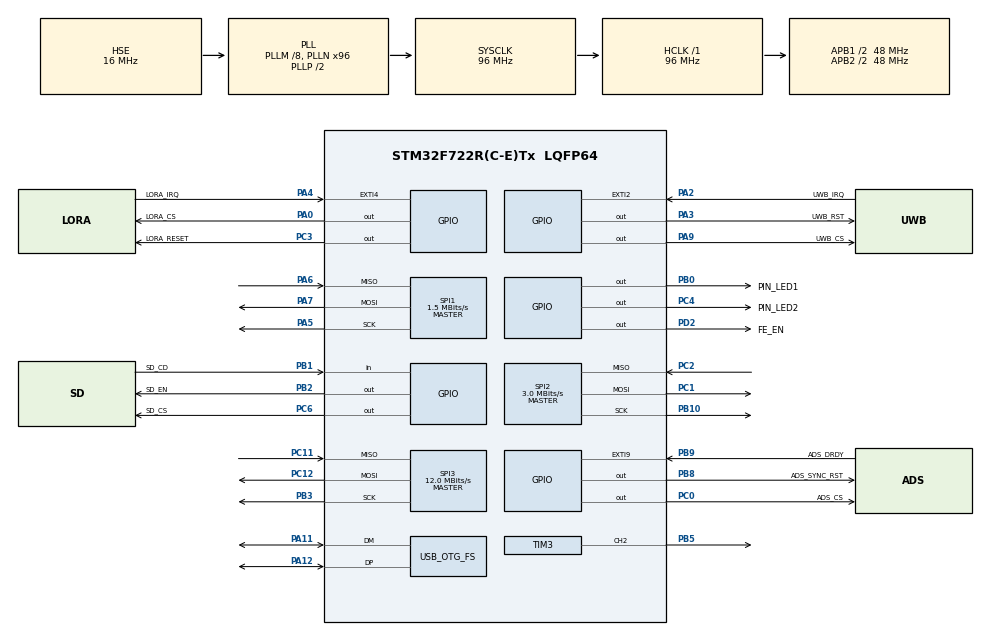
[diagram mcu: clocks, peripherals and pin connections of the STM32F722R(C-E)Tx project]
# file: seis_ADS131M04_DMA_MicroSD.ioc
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Dma.Request0=SPI3_RX
Dma.Request1=SPI3_TX
Dma.SPI3_RX.0.Direction=DMA_PERIPH_TO_MEMORY
Dma.SPI3_RX.0.FIFOMode=DMA_FIFOMODE_DISABLE
Dma.SPI3_RX.0.Instance=DMA1_Stream0
Dma.SPI3_RX.0.MemDataAlignment=DMA_MDATAALIGN_BYTE
Dma.SPI3_RX.0.MemInc=DMA_MINC_ENABLE
Dma.SPI3_RX.0.Mode=DMA_NORMAL
Dma.SPI3_RX.0.PeriphDataAlignment=DMA_PDATAALIGN_BYTE
Dma.SPI3_RX.0.PeriphInc=DMA_PINC_DISABLE
Dma.SPI3_RX.0.Priority=DMA_PRIORITY_VERY_HIGH
Dma.SPI3_TX.1.Direction=DMA_MEMORY_TO_PERIPH
Dma.SPI3_TX.1.FIFOMode=DMA_FIFOMODE_DISABLE
Dma.SPI3_TX.1.Instance=DMA1_Stream5
Dma.SPI3_TX.1.MemDataAlignment=DMA_MDATAALIGN_BYTE
Dma.SPI3_TX.1.MemInc=DMA_MINC_ENABLE
Dma.SPI3_TX.1.Mode=DMA_NORMAL
Dma.SPI3_TX.1.PeriphDataAlignment=DMA_PDATAALIGN_BYTE
Dma.SPI3_TX.1.PeriphInc=DMA_PINC_DISABLE
Dma.SPI3_TX.1.Priority=DMA_PRIORITY_VERY_HIGH
Mcu.Family=STM32F7
Mcu.Name=STM32F722R(C-E)Tx
Mcu.Package=LQFP64
NVIC.DMA1_Stream0_IRQn=true\:0\:0\:false\:false\:true\:false\:true\:true
NVIC.DMA1_Stream5_IRQn=true\:0\:0\:false\:false\:true\:false\:true\:true
NVIC.EXTI2_IRQn=true\:1\:0\:true\:false\:true\:true\:true\:true
NVIC.EXTI4_IRQn=true\:2\:0\:true\:false\:true\:true\:true\:true
NVIC.EXTI9_5_IRQn=true\:0\:0\:false\:false\:true\:true\:true\:true
NVIC.OTG_FS_IRQn=true\:0\:0\:false\:false\:true\:false\:true\:true
NVIC.PriorityGroup=NVIC_PRIORITYGROUP_4
PA0-WKUP.GPIO_Label=LORA_CS
PA0-WKUP.GPIO_PuPd=GPIO_PULLUP
PA0-WKUP.PinState=GPIO_PIN_SET
PA0-WKUP.Signal=GPIO_Output
PA11.Mode=Device_Only
PA11.Signal=USB_OTG_FS_DM
PA12.Mode=Device_Only
PA12.Signal=USB_OTG_FS_DP
PA13.Mode=Serial_Wire
PA13.Signal=SYS_JTMS-SWDIO
PA14.Mode=Serial_Wire
PA14.Signal=SYS_JTCK-SWCLK
PA2.GPIO_Label=UWB_IRQ
PA2.Signal=GPXTI2
PA3.GPIO_Label=UWB_RST
PA3.Signal=GPIO_Output
PA4.GPIO_Label=LORA_IRQ
PA4.GPIO_PuPd=GPIO_PULLDOWN
PA4.Signal=GPXTI4
PA5.Mode=Full_Duplex_Master
PA5.Signal=SPI1_SCK
PA6.Mode=Full_Duplex_Master
PA6.Signal=SPI1_MISO
PA7.Mode=Full_Duplex_Master
PA7.Signal=SPI1_MOSI
PA9.GPIO_Label=UWB_CS
PA9.GPIO_PuPd=GPIO_PULLUP
PA9.PinState=GPIO_PIN_SET
PA9.Signal=GPIO_Output
PB0.GPIO_Label=PIN_LED1
PB0.Signal=GPIO_Output
PB1.GPIO_Label=SD_CD
PB1.Signal=GPIO_Input
PB10.GPIO_PuPd=GPIO_PULLUP
PB10.Mode=Full_Duplex_Master
PB10.Signal=SPI2_SCK
PB2.GPIO_Label=SD_EN
PB2.Signal=GPIO_Output
PB3.Mode=Full_Duplex_Master
PB3.Signal=SPI3_SCK
PB5.GPIO_Speed=GPIO_SPEED_FREQ_HIGH
PB5.Signal=S_TIM3_CH2
PB8.GPIO_Label=ADS_SYNC_RST
PB8.Signal=GPIO_Output
PB9.GPIO_Label=ADS_DRDY
PB9.GPIO_ModeDefaultEXTI=GPIO_MODE_IT_FALLING
PB9.GPIO_PuPd=GPIO_NOPULL
PB9.Signal=GPXTI9
PC0.GPIO_Label=ADS_CS
PC0.GPIO_PuPd=GPIO_PULLUP
PC0.Signal=GPIO_Output
PC1.GPIO_PuPd=GPIO_PULLUP
PC1.Mode=Full_Duplex_Master
PC1.Signal=SPI2_MOSI
PC11.Mode=Full_Duplex_Master
PC11.Signal=SPI3_MISO
PC12.Mode=Full_Duplex_Master
PC12.Signal=SPI3_MOSI
PC14-OSC32_IN.Mode=LSE-External-Oscillator
PC14-OSC32_IN.Signal=RCC_OSC32_IN
PC15-OSC32_OUT.Mode=LSE-External-Oscillator
PC15-OSC32_OUT.Signal=RCC_OSC32_OUT
PC2.GPIO_PuPd=GPIO_PULLUP
PC2.Mode=Full_Duplex_Master
PC2.Signal=SPI2_MISO
PC3.GPIO_Label=LORA_RESET
PC3.GPIO_PuPd=GPIO_PULLUP
PC3.Signal=GPIO_Output
PC4.GPIO_Label=PIN_LED2
PC4.Signal=GPIO_Output
PC6.GPIO_Label=SD_CS
PC6.GPIO_PuPd=GPIO_PULLUP
PC6.PinState=GPIO_PIN_SET
PC6.Signal=GPIO_Output
PD2.GPIO_Label=FE_EN
PD2.Signal=GPIO_Output
PH0-OSC_IN.Mode=HSE-External-Oscillator
PH0-OSC_IN.Signal=RCC_OSC_IN
PH1-OSC_OUT.Mode=HSE-External-Oscillator
PH1-OSC_OUT.Signal=RCC_OSC_OUT
ProjectManager.HeapSize=0x200
ProjectManager.StackSize=0x400
ProjectManager.TargetToolchain=STM32CubeIDE
RCC.AHBFreq_Value=96000000
RCC.APB1CLKDivider=RCC_HCLK_DIV2
RCC.APB1Freq_Value=48000000
RCC.APB1TimFreq_Value=96000000
RCC.APB2CLKDivider=RCC_HCLK_DIV2
RCC.APB2Freq_Value=48000000
RCC.APB2TimFreq_Value=96000000
RCC.CortexFreq_Value=96000000
RCC.HCLKFreq_Value=96000000
RCC.HSE_VALUE=16000000
RCC.HSI_VALUE=16000000
RCC.PLLM=8
RCC.PLLN=96
RCC.PLLQ=4
RCC.PWREXT_OverDrive=PWREXT_OverDrive_ACTIVATED
RCC.PWR_Regulator_Voltage_Scale=PWR_REGULATOR_VOLTAGE_SCALE1
RCC.SYSCLKFreq_VALUE=96000000
RCC.SYSCLKSource=RCC_SYSCLKSOURCE_PLLCLK
RCC.USBFreq_Value=48000000
RCC.VCOOutputFreq_Value=192000000
SH.S_TIM3_CH2.0=TIM3_CH2,PWM Generation2 CH2
SPI1.BaudRatePrescaler=SPI_BAUDRATEPRESCALER_32
SPI1.CalculateBaudRate=1.5 MBits/s
SPI1.DataSize=SPI_DATASIZE_8BIT
SPI1.Direction=SPI_DIRECTION_2LINES
SPI1.Mode=SPI_MODE_MASTER
SPI1.VirtualType=VM_MASTER
SPI2.BaudRatePrescaler=SPI_BAUDRATEPRESCALER_16
SPI2.CalculateBaudRate=3.0 MBits/s
SPI2.DataSize=SPI_DATASIZE_8BIT
SPI2.Direction=SPI_DIRECTION_2LINES
SPI2.Mode=SPI_MODE_MASTER
SPI2.VirtualType=VM_MASTER
SPI3.BaudRatePrescaler=SPI_BAUDRATEPRESCALER_4
SPI3.CLKPhase=SPI_PHASE_2EDGE
SPI3.CalculateBaudRate=12.0 MBits/s
SPI3.DataSize=SPI_DATASIZE_8BIT
SPI3.Direction=SPI_DIRECTION_2LINES
SPI3.Mode=SPI_MODE_MASTER
SPI3.VirtualType=VM_MASTER
TIM3.AutoReloadPreload=TIM_AUTORELOAD_PRELOAD_ENABLE
TIM3.Channel-PWM\ Generation2\ CH2=TIM_CHANNEL_2
TIM3.Period=32
USB_DEVICE.CLASS_NAME_FS=CDC
USB_DEVICE.VirtualMode-CDC_FS=Cdc
USB_DEVICE.VirtualModeFS=Cdc_FS
USB_OTG_FS.VirtualMode=Device_Only
VP_FATFS_VS_Generic.Mode=User_defined
VP_TIM3_VS_ClockSourceINT.Mode=Internal
VP_USB_DEVICE_VS_USB_DEVICE_CDC_FS.Mode=CDC_FS
board=custom

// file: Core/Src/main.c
/* USER CODE BEGIN Header */
/**
  ******************************************************************************
  * @file           : main.c
  * @brief          : Main program body
  ******************************************************************************
  * @attention
  *
  * Copyright (c) 2025 STMicroelectronics.
  * All rights reserved.
  *
  * This software is licensed under terms that can be found in the LICENSE file
  * in the root directory of this software component.
  * If no LICENSE file comes with this software, it is provided AS-IS.
  *
  ******************************************************************************
  */
/* USER CODE END Header */
#include "main.h"
#include "fatfs.h"
#include "usb_device.h"

/* USER CODE BEGIN Includes */
#include "ADS131M04.h"
#include "microsd_fz.h"

/* USER CODE END Includes */

SPI_HandleTypeDef hspi1;
SPI_HandleTypeDef hspi2;
SPI_HandleTypeDef hspi3;
DMA_HandleTypeDef hdma_spi3_rx;
DMA_HandleTypeDef hdma_spi3_tx;

TIM_HandleTypeDef htim3;

/* USER CODE BEGIN PV */
ADS131M04_ADCValue adcValue;
// uint8_t ADS_data_buffer[18] = {0};
/*
things to do for MicroSD card:
1. copy the user_diskio_spi.c and user_diskio_spi.h files to Core/Src and Core/Inc directories respectively.
2. define the SPI handle for the MicroSD card in main.h
3. remember the initial state of the SD_CS is HIGH!
4. open a file multiple times will cause problems
5. make sure the file name is in 8.3 format, e.g., "hexsense.txt", no special characters
*/
const char *HS_FILE_NAME = "HS1.txt"; // Default filename for operations

uint32_t rec_i = 0;
uint32_t i     = 0;

#define TIMES2REC 20 // Number of times to record data before stopping
/* USER CODE END PV */

void SystemClock_Config(void);
static void MX_GPIO_Init(void);
static void MX_DMA_Init(void);
static void MX_SPI1_Init(void);
static void MX_SPI3_Init(void);
static void MX_TIM3_Init(void);
static void MX_SPI2_Init(void);

/* USER CODE BEGIN 0 */
void SD_ON(void) {
  HAL_GPIO_WritePin(SD_EN_GPIO_Port, SD_EN_Pin, GPIO_PIN_SET);
}
/* USER CODE END 0 */

int main(void)
{

  /* MCU Configuration--------------------------------------------------------*/

  /* Reset of all peripherals, Initializes the Flash interface and the Systick. */
  HAL_Init();

  /* Configure the system clock */
  SystemClock_Config();

  /* USER CODE BEGIN SysInit */
  // if (HAL_GPIO_ReadPin(SD_CD_GPIO_Port, SD_CD_Pin) == GPIO_PIN_SET) {
  //   printf("SD card not detected!\n");
  //   while (1) {;}
  // }
  // SD_ON(); // Turn on the SD card

  /* USER CODE END SysInit */

  /* Initialize all configured peripherals */
  MX_GPIO_Init();
  if (HAL_GPIO_ReadPin(SD_CD_GPIO_Port, SD_CD_Pin) == GPIO_PIN_SET) {
    printf("SD card not detected!\n");
    while (1) {;}
  }
  SD_ON(); // Turn on the SD card
  MX_DMA_Init();
  MX_SPI1_Init();
  MX_FATFS_Init();
  MX_USB_DEVICE_Init();
  MX_SPI3_Init();
  MX_TIM3_Init();
  MX_SPI2_Init();
  /* USER CODE BEGIN 2 */
  ADS_PWR_ON(); // Power on the ADC
  HAL_Delay(1000); // Delay for stability

  if (mount_sd_card() == FR_OK) {
    HAL_GPIO_WritePin(PIN_LED2_GPIO_Port, PIN_LED2_Pin, GPIO_PIN_SET); // Indicate success with LED
    printf("SD card mounted!\n");
  } else {
     HAL_GPIO_WritePin(PIN_LED2_GPIO_Port, PIN_LED2_Pin, GPIO_PIN_RESET); // Indicate error with LED
    printf("SD card mount failed!\n");
    while (1) {;}
  }

  DWORD free_clusters, free_sectors, total_sectors = 0;

  if (get_statistics(&free_clusters, &free_sectors, &total_sectors) == FR_OK) {
    printf("Free clusters: %lu, Free sectors: %lu, Total sectors: %lu\n",
          free_clusters, free_sectors, total_sectors);
  } else {
    printf("Failed to get SD card statistics!\n");
  }

  // file name needs to be 8 + 3 format, e.g., "hexsense.txt"
  if (open_file("HS1.txt") == FR_OK) {
    printf("File opened successfully!\n");
  } else {
    printf("Failed to open file!\n");
  }

  /* USER CODE END 2 */

  /* Infinite loop */
  /* USER CODE BEGIN WHILE */
  ADS131M04_Init();
  HAL_GPIO_WritePin(GPIOB, PIN_LED1_Pin, GPIO_PIN_SET); // Set the reset pin high to exit reset state

//  uint32_t i = 0;

  ADS_CS_LOW();

  while (1) {
    /* USER CODE END WHILE */

    /* USER CODE BEGIN 3 */
    if (i < TIMES2REC) {
      if (ADS_data_ready) {
        ADS_data_ready = false;
        rec_i += BYTES_PER_FRAME;

        if (rec_i == BYTES_PER_FRAME * 1000) {
          rec_i = 0; // Reset the index if it exceeds the buffer size
          ADS_data_buffer2rec = ADS_data_buffer;
          ADS_data_buffer = (ADS_data_buffer == ADS_data_buffer_1) ? ADS_data_buffer_2 : ADS_data_buffer_1; // Switch buffers

          write_data_to_file(ADS_data_buffer2rec, BYTES_PER_FRAME * 1000);

          i++;

          if (i == TIMES2REC) {
            ADS_CS_HIGH(); // Set CS high to stop communication
            close_file();
            eject_sd_card();
            HAL_GPIO_WritePin(PIN_LED2_GPIO_Port, PIN_LED2_Pin, GPIO_PIN_RESET);
          }
        }
      }
    }
  }
  /* USER CODE END 3 */
}

void SystemClock_Config(void)
{
  RCC_OscInitTypeDef RCC_OscInitStruct = {0};
  RCC_ClkInitTypeDef RCC_ClkInitStruct = {0};

  /** Configure LSE Drive Capability
  */
  HAL_PWR_EnableBkUpAccess();

  /** Configure the main internal regulator output voltage
  */
  __HAL_RCC_PWR_CLK_ENABLE();
  __HAL_PWR_VOLTAGESCALING_CONFIG(PWR_REGULATOR_VOLTAGE_SCALE1);

  /** Initializes the RCC Oscillators according to the specified parameters
  * in the RCC_OscInitTypeDef structure.
  */
  RCC_OscInitStruct.OscillatorType = RCC_OSCILLATORTYPE_HSE;
  RCC_OscInitStruct.HSEState = RCC_HSE_ON;
  RCC_OscInitStruct.PLL.PLLState = RCC_PLL_ON;
  RCC_OscInitStruct.PLL.PLLSource = RCC_PLLSOURCE_HSE;
  RCC_OscInitStruct.PLL.PLLM = 8;
  RCC_OscInitStruct.PLL.PLLN = 96;
  RCC_OscInitStruct.PLL.PLLP = RCC_PLLP_DIV2;
  RCC_OscInitStruct.PLL.PLLQ = 4;
  if (HAL_RCC_OscConfig(&RCC_OscInitStruct) != HAL_OK)
  {
    Error_Handler();
  }

  /** Activate the Over-Drive mode
  */
  if (HAL_PWREx_EnableOverDrive() != HAL_OK)
  {
    Error_Handler();
  }

  /** Initializes the CPU, AHB and APB buses clocks
  */
  RCC_ClkInitStruct.ClockType = RCC_CLOCKTYPE_HCLK|RCC_CLOCKTYPE_SYSCLK
                              |RCC_CLOCKTYPE_PCLK1|RCC_CLOCKTYPE_PCLK2;
  RCC_ClkInitStruct.SYSCLKSource = RCC_SYSCLKSOURCE_PLLCLK;
  RCC_ClkInitStruct.AHBCLKDivider = RCC_SYSCLK_DIV1;
  RCC_ClkInitStruct.APB1CLKDivider = RCC_HCLK_DIV2;
  RCC_ClkInitStruct.APB2CLKDivider = RCC_HCLK_DIV2;

  if (HAL_RCC_ClockConfig(&RCC_ClkInitStruct, FLASH_LATENCY_3) != HAL_OK)
  {
    Error_Handler();
  }
}

static void MX_SPI1_Init(void)
{

  /* SPI1 parameter configuration*/
  hspi1.Instance = SPI1;
  hspi1.Init.Mode = SPI_MODE_MASTER;
  hspi1.Init.Direction = SPI_DIRECTION_2LINES;
  hspi1.Init.DataSize = SPI_DATASIZE_8BIT;
  hspi1.Init.CLKPolarity = SPI_POLARITY_LOW;
  hspi1.Init.CLKPhase = SPI_PHASE_1EDGE;
  hspi1.Init.NSS = SPI_NSS_SOFT;
  hspi1.Init.BaudRatePrescaler = SPI_BAUDRATEPRESCALER_32;
  hspi1.Init.FirstBit = SPI_FIRSTBIT_MSB;
  hspi1.Init.TIMode = SPI_TIMODE_DISABLE;
  hspi1.Init.CRCCalculation = SPI_CRCCALCULATION_DISABLE;
  hspi1.Init.CRCPolynomial = 7;
  hspi1.Init.CRCLength = SPI_CRC_LENGTH_DATASIZE;
  hspi1.Init.NSSPMode = SPI_NSS_PULSE_ENABLE;
  if (HAL_SPI_Init(&hspi1) != HAL_OK)
  {
    Error_Handler();
  }

}

static void MX_SPI2_Init(void)
{

  /* SPI2 parameter configuration*/
  hspi2.Instance = SPI2;
  hspi2.Init.Mode = SPI_MODE_MASTER;
  hspi2.Init.Direction = SPI_DIRECTION_2LINES;
  hspi2.Init.DataSize = SPI_DATASIZE_8BIT;
  hspi2.Init.CLKPolarity = SPI_POLARITY_LOW;
  hspi2.Init.CLKPhase = SPI_PHASE_1EDGE;
  hspi2.Init.NSS = SPI_NSS_SOFT;
  hspi2.Init.BaudRatePrescaler = SPI_BAUDRATEPRESCALER_16;
  hspi2.Init.FirstBit = SPI_FIRSTBIT_MSB;
  hspi2.Init.TIMode = SPI_TIMODE_DISABLE;
  hspi2.Init.CRCCalculation = SPI_CRCCALCULATION_DISABLE;
  hspi2.Init.CRCPolynomial = 7;
  hspi2.Init.CRCLength = SPI_CRC_LENGTH_DATASIZE;
  hspi2.Init.NSSPMode = SPI_NSS_PULSE_ENABLE;
  if (HAL_SPI_Init(&hspi2) != HAL_OK)
  {
    Error_Handler();
  }

}

static void MX_SPI3_Init(void)
{

  /* SPI3 parameter configuration*/
  hspi3.Instance = SPI3;
  hspi3.Init.Mode = SPI_MODE_MASTER;
  hspi3.Init.Direction = SPI_DIRECTION_2LINES;
  hspi3.Init.DataSize = SPI_DATASIZE_8BIT;
  hspi3.Init.CLKPolarity = SPI_POLARITY_LOW;
  hspi3.Init.CLKPhase = SPI_PHASE_2EDGE;
  hspi3.Init.NSS = SPI_NSS_SOFT;
  hspi3.Init.BaudRatePrescaler = SPI_BAUDRATEPRESCALER_4;
  hspi3.Init.FirstBit = SPI_FIRSTBIT_MSB;
  hspi3.Init.TIMode = SPI_TIMODE_DISABLE;
  hspi3.Init.CRCCalculation = SPI_CRCCALCULATION_DISABLE;
  hspi3.Init.CRCPolynomial = 7;
  hspi3.Init.CRCLength = SPI_CRC_LENGTH_DATASIZE;
  hspi3.Init.NSSPMode = SPI_NSS_PULSE_DISABLE;
  if (HAL_SPI_Init(&hspi3) != HAL_OK)
  {
    Error_Handler();
  }

}

static void MX_TIM3_Init(void)
{

  TIM_ClockConfigTypeDef sClockSourceConfig = {0};
  TIM_MasterConfigTypeDef sMasterConfig = {0};
  TIM_OC_InitTypeDef sConfigOC = {0};

  htim3.Instance = TIM3;
  htim3.Init.Prescaler = 0;
  htim3.Init.CounterMode = TIM_COUNTERMODE_UP;
  htim3.Init.Period = 32;
  htim3.Init.ClockDivision = TIM_CLOCKDIVISION_DIV1;
  htim3.Init.AutoReloadPreload = TIM_AUTORELOAD_PRELOAD_ENABLE;
  if (HAL_TIM_Base_Init(&htim3) != HAL_OK)
  {
    Error_Handler();
  }
  sClockSourceConfig.ClockSource = TIM_CLOCKSOURCE_INTERNAL;
  if (HAL_TIM_ConfigClockSource(&htim3, &sClockSourceConfig) != HAL_OK)
  {
    Error_Handler();
  }
  if (HAL_TIM_PWM_Init(&htim3) != HAL_OK)
  {
    Error_Handler();
  }
  sMasterConfig.MasterOutputTrigger = TIM_TRGO_RESET;
  sMasterConfig.MasterSlaveMode = TIM_MASTERSLAVEMODE_DISABLE;
  if (HAL_TIMEx_MasterConfigSynchronization(&htim3, &sMasterConfig) != HAL_OK)
  {
    Error_Handler();
  }
  sConfigOC.OCMode = TIM_OCMODE_PWM1;
  sConfigOC.Pulse = 0;
  sConfigOC.OCPolarity = TIM_OCPOLARITY_HIGH;
  sConfigOC.OCFastMode = TIM_OCFAST_DISABLE;
  if (HAL_TIM_PWM_ConfigChannel(&htim3, &sConfigOC, TIM_CHANNEL_2) != HAL_OK)
  {
    Error_Handler();
  }
  HAL_TIM_MspPostInit(&htim3);

}

static void MX_DMA_Init(void)
{

  /* DMA controller clock enable */
  __HAL_RCC_DMA1_CLK_ENABLE();

  /* DMA interrupt init */
  /* DMA1_Stream0_IRQn interrupt configuration */
  HAL_NVIC_SetPriority(DMA1_Stream0_IRQn, 0, 0);
  HAL_NVIC_EnableIRQ(DMA1_Stream0_IRQn);
  /* DMA1_Stream5_IRQn interrupt configuration */
  HAL_NVIC_SetPriority(DMA1_Stream5_IRQn, 0, 0);
  HAL_NVIC_EnableIRQ(DMA1_Stream5_IRQn);

}

static void MX_GPIO_Init(void)
{
  GPIO_InitTypeDef GPIO_InitStruct = {0};

  /* GPIO Ports Clock Enable */
  __HAL_RCC_GPIOC_CLK_ENABLE();
  __HAL_RCC_GPIOH_CLK_ENABLE();
  __HAL_RCC_GPIOA_CLK_ENABLE();
  __HAL_RCC_GPIOB_CLK_ENABLE();
  __HAL_RCC_GPIOD_CLK_ENABLE();

  /*Configure GPIO pin Output Level */
  HAL_GPIO_WritePin(GPIOC, ADS_CS_Pin|LORA_RESET_Pin|PIN_LED2_Pin, GPIO_PIN_RESET);

  /*Configure GPIO pin Output Level */
  HAL_GPIO_WritePin(GPIOA, LORA_CS_Pin|UWB_CS_Pin, GPIO_PIN_SET);

  /*Configure GPIO pin Output Level */
  HAL_GPIO_WritePin(UWB_RST_GPIO_Port, UWB_RST_Pin, GPIO_PIN_RESET);

  /*Configure GPIO pin Output Level */
  HAL_GPIO_WritePin(GPIOB, PIN_LED1_Pin|SD_EN_Pin|ADS_SYNC_RST_Pin, GPIO_PIN_RESET);

  /*Configure GPIO pin Output Level */
  HAL_GPIO_WritePin(SD_CS_GPIO_Port, SD_CS_Pin, GPIO_PIN_SET);

  /*Configure GPIO pin Output Level */
  HAL_GPIO_WritePin(FE_EN_GPIO_Port, FE_EN_Pin, GPIO_PIN_RESET);

  /*Configure GPIO pins : ADS_CS_Pin LORA_RESET_Pin SD_CS_Pin */
  GPIO_InitStruct.Pin = ADS_CS_Pin|LORA_RESET_Pin|SD_CS_Pin;
  GPIO_InitStruct.Mode = GPIO_MODE_OUTPUT_PP;
  GPIO_InitStruct.Pull = GPIO_PULLUP;
  GPIO_InitStruct.Speed = GPIO_SPEED_FREQ_LOW;
  HAL_GPIO_Init(GPIOC, &GPIO_InitStruct);

  /*Configure GPIO pins : LORA_CS_Pin UWB_CS_Pin */
  GPIO_InitStruct.Pin = LORA_CS_Pin|UWB_CS_Pin;
  GPIO_InitStruct.Mode = GPIO_MODE_OUTPUT_PP;
  GPIO_InitStruct.Pull = GPIO_PULLUP;
  GPIO_InitStruct.Speed = GPIO_SPEED_FREQ_LOW;
  HAL_GPIO_Init(GPIOA, &GPIO_InitStruct);

  /*Configure GPIO pin : UWB_IRQ_Pin */
  GPIO_InitStruct.Pin = UWB_IRQ_Pin;
  GPIO_InitStruct.Mode = GPIO_MODE_IT_RISING;
  GPIO_InitStruct.Pull = GPIO_NOPULL;
  HAL_GPIO_Init(UWB_IRQ_GPIO_Port, &GPIO_InitStruct);

  /*Configure GPIO pin : UWB_RST_Pin */
  GPIO_InitStruct.Pin = UWB_RST_Pin;
  GPIO_InitStruct.Mode = GPIO_MODE_OUTPUT_PP;
  GPIO_InitStruct.Pull = GPIO_NOPULL;
  GPIO_InitStruct.Speed = GPIO_SPEED_FREQ_LOW;
  HAL_GPIO_Init(UWB_RST_GPIO_Port, &GPIO_InitStruct);

  /*Configure GPIO pin : LORA_IRQ_Pin */
  GPIO_InitStruct.Pin = LORA_IRQ_Pin;
  GPIO_InitStruct.Mode = GPIO_MODE_IT_RISING;
  GPIO_InitStruct.Pull = GPIO_PULLDOWN;
  HAL_GPIO_Init(LORA_IRQ_GPIO_Port, &GPIO_InitStruct);

  /*Configure GPIO pin : PIN_LED2_Pin */
  GPIO_InitStruct.Pin = PIN_LED2_Pin;
  GPIO_InitStruct.Mode = GPIO_MODE_OUTPUT_PP;
  GPIO_InitStruct.Pull = GPIO_NOPULL;
  GPIO_InitStruct.Speed = GPIO_SPEED_FREQ_LOW;
  HAL_GPIO_Init(PIN_LED2_GPIO_Port, &GPIO_InitStruct);

  /*Configure GPIO pins : PIN_LED1_Pin SD_EN_Pin ADS_SYNC_RST_Pin */
  GPIO_InitStruct.Pin = PIN_LED1_Pin|SD_EN_Pin|ADS_SYNC_RST_Pin;
  GPIO_InitStruct.Mode = GPIO_MODE_OUTPUT_PP;
  GPIO_InitStruct.Pull = GPIO_NOPULL;
  GPIO_InitStruct.Speed = GPIO_SPEED_FREQ_LOW;
  HAL_GPIO_Init(GPIOB, &GPIO_InitStruct);

  /*Configure GPIO pin : SD_CD_Pin */
  GPIO_InitStruct.Pin = SD_CD_Pin;
  GPIO_InitStruct.Mode = GPIO_MODE_INPUT;
  GPIO_InitStruct.Pull = GPIO_NOPULL;
  HAL_GPIO_Init(SD_CD_GPIO_Port, &GPIO_InitStruct);

  /*Configure GPIO pin : FE_EN_Pin */
  GPIO_InitStruct.Pin = FE_EN_Pin;
  GPIO_InitStruct.Mode = GPIO_MODE_OUTPUT_PP;
  GPIO_InitStruct.Pull = GPIO_NOPULL;
  GPIO_InitStruct.Speed = GPIO_SPEED_FREQ_LOW;
  HAL_GPIO_Init(FE_EN_GPIO_Port, &GPIO_InitStruct);

  /*Configure GPIO pin : ADS_DRDY_Pin */
  GPIO_InitStruct.Pin = ADS_DRDY_Pin;
  GPIO_InitStruct.Mode = GPIO_MODE_IT_FALLING;
  GPIO_InitStruct.Pull = GPIO_NOPULL;
  HAL_GPIO_Init(ADS_DRDY_GPIO_Port, &GPIO_InitStruct);

  /* EXTI interrupt init*/
  HAL_NVIC_SetPriority(EXTI2_IRQn, 1, 0);
  HAL_NVIC_EnableIRQ(EXTI2_IRQn);

  HAL_NVIC_SetPriority(EXTI4_IRQn, 2, 0);
  HAL_NVIC_EnableIRQ(EXTI4_IRQn);

  HAL_NVIC_SetPriority(EXTI9_5_IRQn, 0, 0);
  HAL_NVIC_EnableIRQ(EXTI9_5_IRQn);

}

void Error_Handler(void)
{
  __disable_irq();
  while (1)
  {
  }
}
